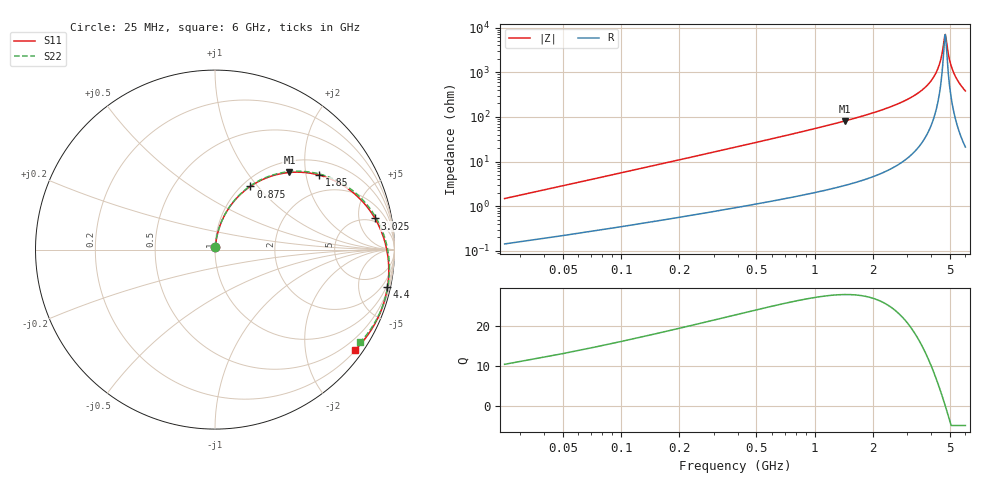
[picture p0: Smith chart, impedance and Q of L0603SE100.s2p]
!	AVX	Thin	Film	Operation	Date:	2004
!	Description:	"Series,"	Thin	"Film,"	"LGA,"	RF	Inductors
!	Part	Number:	L060310nH
!	25	MHz	-	6	GHz
!	Serial	Measurements
#	mhz	S	db	R	50
!	S11	S11	S21	S21	S12	S12	S22	S22
!	dB	Phase	dB	Phase	dB	Phase	dB	Phase
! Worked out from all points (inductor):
!   240 points, 25 MHz to 6 GHz, reference 50 ohm
!   read as one part in series: L = 8.96 nH near 50 MHz
!   highest Q = 27.8 at 1.425 GHz (marker M1), where L = 9.01 nH
!   self-resonance near 4.7 GHz
!   S11 on the Smith chart (normalised r, x): 25 MHz: 1.00, +0.03; 875 MHz: 1.09, +0.92; 1.85 GHz: 1.41, +2.38; 3.025 GHz: 4.17, +8.27; 4.4 GHz: 0.71, -9.18; 6 GHz: 0.22, -3.11
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25  -37.04 83.3  -0.01 -0.9  -0.01 -0.9  -37.04 83.3
50  -31.33 83.6  -0.02 -1.7  -0.02 -1.7  -31.33 83.7
100  -25.57 82.9  -0.04 -3.4  -0.04 -3.4  -25.57 82.9
175  -20.91 81.0  -0.08 -5.8  -0.08 -5.8  -20.91 81.0
250  -17.95 78.9  -0.13 -8.1  -0.13 -8.1  -17.95 79.0
500  -12.26 71.6  -0.36 -15.8  -0.36 -15.8  -12.26 71.8
875  -7.88 60.8  -0.92 -26.8  -0.92 -26.8  -7.88 61.1
1025  -6.72 56.6  -1.21 -31.0  -1.21 -31.0  -6.72 57.0
1425  -4.48 46.0  -2.16 -41.5  -2.16 -41.5  -4.48 46.6
1850  -2.94 35.6  -3.42 -51.8  -3.42 -51.8  -2.94 36.4
2025  -2.46 31.6  -4.02 -55.7  -4.02 -55.7  -2.47 32.5
3025  -0.84 11.0  -8.51 -75.4  -8.51 -75.4  -0.84 12.3
3600  -0.40 0.7  -12.42 -84.5  -12.42 -84.5  -0.41 2.3
4025  -0.23 -6.4  -16.79 -89.4  -16.79 -89.4  -0.23 -4.6
4400  -0.14 -12.4  -23.61 -88.8  -23.61 -88.8  -0.14 -10.4
4525  -0.13 -14.3  -27.69 -83.2  -27.69 -83.2  -0.13 -12.2
4675  -0.12 -16.6  -35.77 -47.3  -35.77 -47.3  -0.12 -14.4
4725  -0.12 -17.3  -37.20 -10.6  -37.20 -10.6  -0.12 -15.1
4900  -0.12 -19.9  -28.40 50.5  -28.40 50.5  -0.12 -17.6
5025  -0.13 -21.8  -24.29 56.9  -24.29 56.9  -0.13 -19.4
5400  -0.19 -27.2  -17.74 58.5  -17.74 58.5  -0.19 -24.6
6000  -0.36 -35.5  -12.63 53.0  -12.63 53.0  -0.35 -32.5
